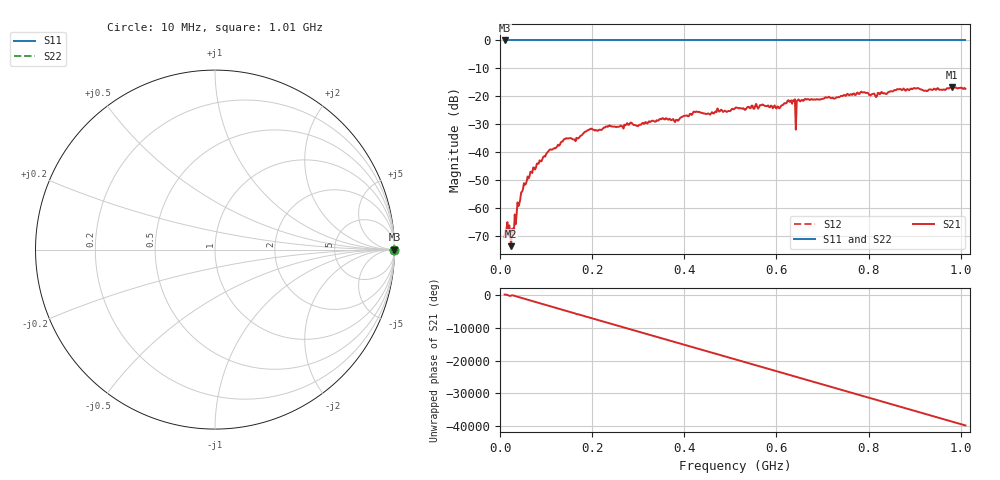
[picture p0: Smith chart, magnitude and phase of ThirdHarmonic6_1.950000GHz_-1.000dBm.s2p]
! 8/16/2025 11:29:02 PM
! C:\ANRITSUVNA\TEMP\TEMP.S2P
! CHANNEL.1
! TR.MEASUREMENT
! RAW.DATA
! RF.CORRECTION.OFF
! AVERAGING.OFF
! IF.BANDWIDTH: 5KHZ
! SWEEPTYPE:  FREQ.SWEEP(Linear)
! Reference Plane Port Info
! PORT:  PORT1  PORT2
! DISTANCE:  0  m  0  m
! TIME:  0  s  0  s
! PHASE.OFFSET:  0  deg.  0  deg.
! LOSS:  0  dB  0  dB
! REF.LOSS:  0  dB  0  dB
! REF.FREQ:  0  Hz  0  Hz
! Power Info
! POWER:  -20  dBm  -20  dBm
! EFF.POWER:  -20  dBm  -20  dBm
! SOURCE.ATTEN:  0  dB  0  dB
! TEST.ATTEN:  0  dB  0  dB
# GHZ S RI R 50.0
! FREQ.GHZ  S11RE  S11IM  S21RE  S21IM  S12RE  S12IM  S22RE  S22IM
!; PortSelection: Port_12
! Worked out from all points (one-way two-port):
!   501 points, 10 MHz to 1.01 GHz, reference 50 ohm
!   highest |S21| = -16.72 dB at 980 MHz (marker M1); lowest = -73.6 dB at 24 MHz (marker M2)
!   lowest |S11| = 0.0 dB at 10 MHz (marker M3)
!   |S11| at or under -10 dB: nowhere
!   |S22| runs from 0.0 to 0.0 dB; largest |S21 - S12| = 1.1
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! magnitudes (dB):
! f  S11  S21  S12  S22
! 10 MHz  0.0  -70.3  0.0  0.0
! 16 MHz  0.0  -65.0  0.0  0.0
! 24 MHz  0.0  -73.6  0.0  0.0
! 28 MHz  0.0  -67.3  0.0  0.0
! 50 MHz  0.0  -53.0  0.0  0.0
! 70 MHz  0.0  -47.4  0.0  0.0
! 106 MHz  0.0  -39.4  0.0  0.0
! 140 MHz  0.0  -35.2  0.0  0.0
! 178 MHz  0.0  -33.8  0.0  0.0
! 196 MHz  0.0  -31.7  0.0  0.0
! 344 MHz  0.0  -28.6  0.0  0.0
! 382 MHz  0.0  -28.4  0.0  0.0
! 510 MHz  0.0  -24.2  0.0  0.0
! 604 MHz  0.0  -23.7  0.0  0.0
! 636 MHz  0.0  -21.5  0.0  0.0
! 638 MHz  0.0  -21.5  0.0  0.0
! 646 MHz  0.0  -21.4  0.0  0.0
! 648 MHz  0.0  -21.1  0.0  0.0
! 678 MHz  0.0  -21.2  0.0  0.0
! 844 MHz  0.0  -18.4  0.0  0.0
! 980 MHz  0.0  -16.7  0.0  0.0
! 1.01 GHz  0.0  -17.3  0.0  0.0
